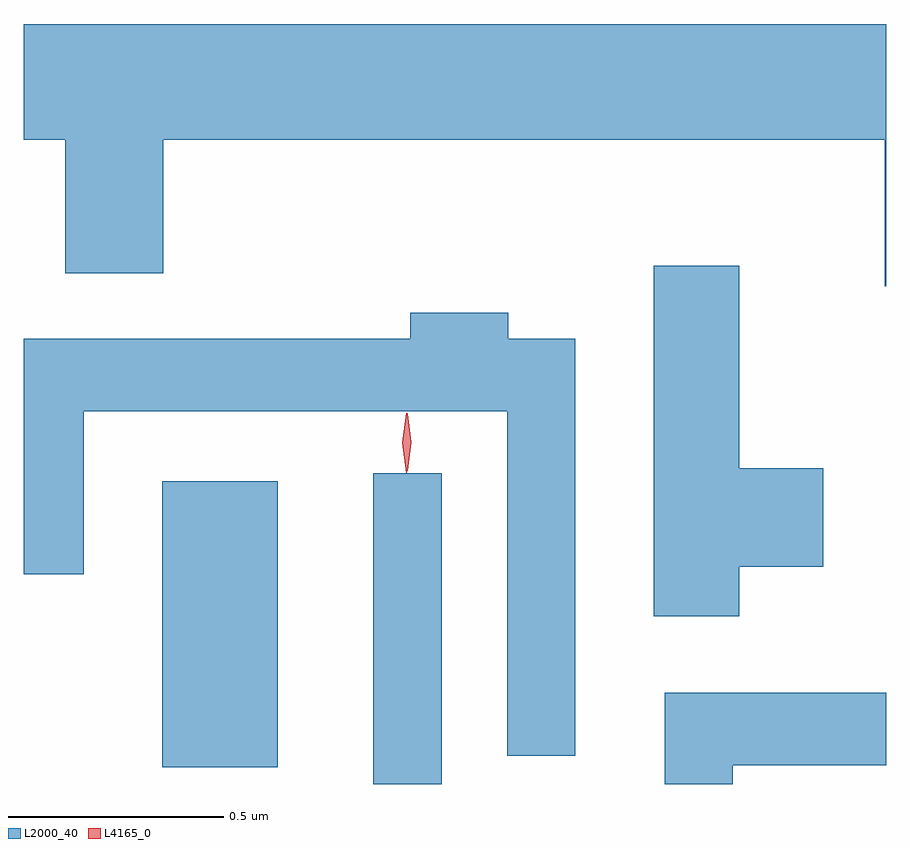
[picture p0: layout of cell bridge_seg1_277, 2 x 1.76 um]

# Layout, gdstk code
import gdstk
lib = gdstk.Library(unit=1e-6, precision=1e-09)
def R(c, l, rs):  # rectangles x0, y0, x1, y1
    for r in rs: c.add(gdstk.rectangle(r[:2], r[2:], *l))
def P(c, l, *ps):  # polygons
    for p in ps: c.add(gdstk.Polygon(p, *l))
L2000_40 = (2000, 40)
L4165_0 = (4165, 0)

bridge_seg1_277 = lib.new_cell('bridge_seg1_277')
R(bridge_seg1_277, L2000_40, [(907.286,893.642,907.444,894.363), (906.796,893.681,907.064,894.344)])
P(bridge_seg1_277, L2000_40, [(908.475,895.404),(906.475,895.404),(906.475,895.136),(906.571,895.136),(906.571,894.826),(906.799,894.826),(906.799,895.136),(908.471,895.136),(908.471,894.796),(908.475,894.796)],
  [(908.134,894.146),(908.329,894.146),(908.329,894.374),(908.134,894.374),(908.134,894.844),(907.936,894.844),(907.936,894.031),(908.134,894.031)],
  [(907.754,894.674),(907.599,894.674),(907.599,894.734),(907.371,894.734),(907.371,894.674),(906.475,894.674),(906.475,894.128),(906.614,894.128),(906.614,894.506),(907.596,894.506),(907.596,893.708),(907.754,893.708)],
  [(908.119,893.686),(908.475,893.686),(908.475,893.854),(907.961,893.854),(907.961,893.642),(908.119,893.642)])
P(bridge_seg1_277, L4165_0, [(907.364,894.367),(907.364,894.368),(907.354,894.434),(907.364,894.5),(907.364,894.501),(907.365,894.5),(907.374,894.434),(907.365,894.368)],
  [(907.362,894.364),(907.353,894.433),(907.362,894.502),(907.363,894.503),(907.363,894.502),(907.373,894.433),(907.363,894.364),(907.363,894.364)])

lib.write_gds('bridge_seg1_277.gds')
